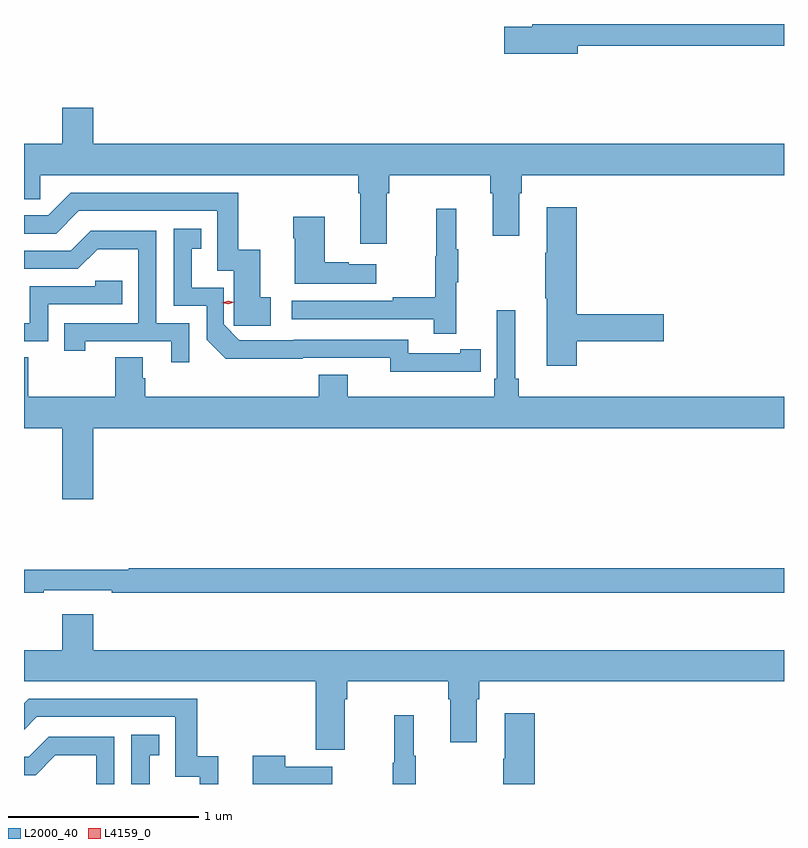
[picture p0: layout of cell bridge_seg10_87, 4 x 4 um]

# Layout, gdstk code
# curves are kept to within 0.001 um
import gdstk
lib = gdstk.Library(unit=1e-6, precision=1e-09)
def P(c, l, *ps):  # polygons
    for p in ps: c.add(gdstk.Polygon(p, *l))
L2000_40 = (2000, 40)
L4159_0 = (4159, 0)

bridge_seg10_87 = lib.new_cell('bridge_seg10_87')
P(bridge_seg10_87, L2000_40, [(659.23,1323.64),(660.315,1323.64),(660.315,1323.755),(658.991,1323.755),(658.991,1323.74),(658.842,1323.74),(658.842,1323.598),(659.23,1323.598)],
  [(656.68,1323.313),(656.516,1323.313),(656.516,1323.124),(656.315,1323.124),(656.315,1322.833),(656.4,1322.833),(656.4,1322.96),(658.073,1322.96),(658.073,1322.864),(658.085,1322.864),(658.085,1322.598),(658.225,1322.598),(658.225,1322.864),(658.238,1322.864),(658.238,1322.96),(658.769,1322.96),(658.769,1322.864),(658.781,1322.864),(658.781,1322.64),(658.921,1322.64),(658.921,1322.864),(658.934,1322.864),(658.934,1322.96),(660.315,1322.96),(660.315,1323.124),(656.68,1323.124)],
  [(657.613,1322.318),(657.559,1322.318),(657.559,1322.566),(657.442,1322.566),(657.442,1322.868),(656.562,1322.868),(656.442,1322.748),(656.315,1322.748),(656.315,1322.652),(656.484,1322.652),(656.604,1322.772),(657.333,1322.772),(657.333,1322.457),(657.418,1322.457),(657.418,1322.274),(657.42,1322.274),(657.42,1322.168),(657.613,1322.168)],
  [(659.225,1322.086),(659.683,1322.086),(659.683,1322.228),(659.225,1322.228),(659.225,1322.791),(659.066,1322.791),(659.066,1322.552),(659.059,1322.552),(659.059,1322.311),(659.066,1322.311),(659.066,1321.956),(659.225,1321.956)],
  [(658.589,1322.395),(658.6,1322.395),(658.6,1322.569),(658.589,1322.569),(658.589,1322.782),(658.486,1322.782),(658.486,1322.532),(658.479,1322.532),(658.479,1322.318),(658.255,1322.318),(658.255,1322.298),(657.723,1322.298),(657.723,1322.202),(658.471,1322.202),(658.471,1322.124),(658.589,1322.124)],
  [(658.168,1322.491),(658.025,1322.491),(658.025,1322.501),(657.898,1322.501),(657.898,1322.74),(657.733,1322.74),(657.733,1322.627),(657.74,1322.627),(657.74,1322.387),(658.168,1322.387)],
  [(658.61,1321.926),(658.718,1321.926),(658.718,1322.042),(658.61,1322.042),(658.61,1322.022),(658.338,1322.022),(658.338,1322.094),(657.735,1322.094),(657.735,1322.09),(657.448,1322.09),(657.365,1322.174),(657.365,1322.367),(657.199,1322.367),(657.199,1322.571),(657.248,1322.571),(657.248,1322.677),(657.102,1322.677),(657.102,1322.271),(657.276,1322.271),(657.276,1322.094),(657.376,1321.994),(657.782,1321.994),(657.782,1321.998),(658.242,1321.998),(658.242,1321.925)],
  [(657.186,1322.181),(657.012,1322.181),(657.012,1322.667),(656.666,1322.667),(656.561,1322.562),(656.315,1322.562),(656.315,1322.466),(656.598,1322.466),(656.702,1322.57),(656.916,1322.57),(656.916,1322.181),(656.527,1322.181),(656.527,1322.034),(656.638,1322.034),(656.638,1322.085),(657.089,1322.085),(657.089,1321.974),(657.186,1321.974)],
  [(656.442,1322.28),(656.831,1322.28),(656.831,1322.403),(656.691,1322.403),(656.691,1322.376),(656.346,1322.376),(656.346,1322.181),(656.315,1322.181),(656.315,1322.085),(656.442,1322.085)],
  [(656.68,1321.628),(660.315,1321.628),(660.315,1321.792),(658.919,1321.792),(658.919,1321.888),(658.9,1321.888),(658.9,1322.248),(658.803,1322.248),(658.803,1321.888),(658.79,1321.888),(658.79,1321.792),(658.018,1321.792),(658.018,1321.909),(657.866,1321.909),(657.866,1321.792),(656.954,1321.792),(656.954,1321.89),(656.941,1321.89),(656.941,1322),(656.794,1322),(656.794,1321.792),(656.337,1321.792),(656.337,1322),(656.315,1322),(656.315,1321.628),(656.516,1321.628),(656.516,1321.254),(656.68,1321.254)],
  [(656.42,1320.774),(656.776,1320.774),(656.776,1320.762),(660.315,1320.762),(660.315,1320.89),(656.867,1320.89),(656.867,1320.883),(656.315,1320.883),(656.315,1320.762),(656.42,1320.762)],
  [(658.003,1320.2),(658.016,1320.2),(658.016,1320.296),(658.547,1320.296),(658.547,1320.2),(658.559,1320.2),(658.559,1319.976),(658.699,1319.976),(658.699,1320.2),(658.712,1320.2),(658.712,1320.296),(660.315,1320.296),(660.315,1320.46),(656.68,1320.46),(656.68,1320.649),(656.516,1320.649),(656.516,1320.46),(656.315,1320.46),(656.315,1320.296),(657.851,1320.296),(657.851,1319.934),(658.003,1319.934)],
  [(657.338,1319.902),(657.227,1319.902),(657.227,1320.204),(656.34,1320.204),(656.315,1320.179),(656.315,1320.041),(656.382,1320.108),(657.111,1320.108),(657.111,1319.793),(657.24,1319.793),(657.24,1319.755),(657.338,1319.755)],
  [(659.003,1320.127),(658.844,1320.127),(658.844,1319.888),(658.837,1319.888),(658.837,1319.755),(659.003,1319.755)],
  [(658.378,1319.905),(658.367,1319.905),(658.367,1320.118),(658.264,1320.118),(658.264,1319.868),(658.257,1319.868),(658.257,1319.755),(658.378,1319.755)],
  [(656.977,1319.907),(657.026,1319.907),(657.026,1320.013),(656.88,1320.013),(656.88,1319.755),(656.977,1319.755)],
  [(656.79,1320.003),(656.444,1320.003),(656.339,1319.898),(656.315,1319.898),(656.315,1319.802),(656.376,1319.802),(656.48,1319.906),(656.694,1319.906),(656.694,1319.755),(656.79,1319.755)],
  [(657.937,1319.845),(657.689,1319.845),(657.689,1319.905),(657.518,1319.905),(657.518,1319.755),(657.937,1319.755)])
P(bridge_seg10_87, L4159_0, [(657.39,1322.279),(657.356,1322.288),(657.356,1322.288),(657.356,1322.288),(657.389,1322.299),(657.422,1322.291),(657.423,1322.291),(657.422,1322.29)])

lib.write_gds('bridge_seg10_87.gds')
